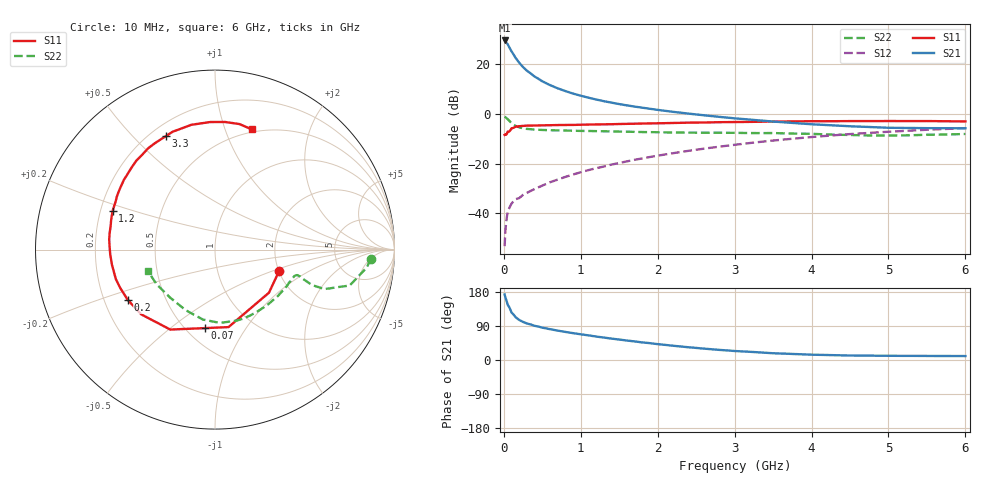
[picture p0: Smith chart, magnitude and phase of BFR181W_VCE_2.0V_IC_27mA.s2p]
! Infineon Technologies  Discrete & RF Semiconductors
! BFR181W
! VCE =  2.0 V,  IC =  27 mA
! Common Emitter S-Parameters:  Jan 2017
# GHz  S  MA  R  50
!  f  S11  S21  S12  S22
! GHz  MAG  ANG  MAG  ANG  MAG  ANG  MAG  ANG
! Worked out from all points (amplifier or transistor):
!   77 points, 10 MHz to 6 GHz, reference 50 ohm
!   highest |S21| = 29.4 dB at 10 MHz (marker M1)
!   |S21| within 3 dB of that: start of sweep to 75.46 MHz
!   unconditionally stable (mu >= 1): start of sweep to 16.77 MHz; 199.4 MHz to end of sweep
!   at 130 MHz: K = 0.74, MSG = 29.3 dB, |S12| = -35.0 dB
!   at 2.2 GHz: K = 1.20, MAG = 5.6 dB, |S12| = -15.8 dB
!   at 6 GHz: K = 1.14, MAG = -2.3 dB, |S12| = -5.8 dB
!   S11 on the Smith chart (normalised r, x): 10 MHz: 2.00, -0.57; 70 MHz: 0.62, -0.67; 200 MHz: 0.30, -0.25; 1.2 GHz: 0.25, +0.17; 3.3 GHz: 0.26, +0.62; 6 GHz: 0.47, +1.24
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0.01  0.3765 -18.8  29.49 173.1  0.0022 79.0  0.8697 -3.3
0.02  0.3848 -38.6  28.62 165.1  0.0045 82.2  0.8518 -6.7
0.05  0.4383 -80.1  24.71 146.0  0.0108 65.1  0.776 -15.0
0.07  0.4407 -97.1  21.65 139.2  0.0127 61.0  0.7235 -16.7
0.1  0.5105 -119.2  17.85 125.1  0.0157 56.7  0.6462 -19.9
0.15  0.5472 -138.8  13.37 113.5  0.0192 52.5  0.5721 -20.0
0.2  0.561 -150.0  10.51 105.7  0.0203 54.2  0.5322 -18.9
0.25  0.5697 -158.0  8.618 100.4  0.0236 55.7  0.5106 -18.2
0.3  0.5763 -163.4  7.279 96.4  0.0258 58.3  0.4956 -17.5
0.4  0.5803 -171.6  5.561 90.2  0.0308 62.7  0.4806 -17.2
0.5  0.5843 -177.3  4.475 85.4  0.0361 66.3  0.472 -17.7
0.7  0.5924 174.4  3.232 77.6  0.0477 71.7  0.4628 -19.5
0.9  0.5957 167.5  2.532 70.9  0.0603 73.9  0.456 -22.7
1.1  0.6053 161.8  2.095 65.0  0.0739 76.0  0.4501 -26.0
1.2  0.6097 159.1  1.927 61.9  0.0806 76.7  0.4472 -27.8
1.6  0.6258 149.2  1.47 51.4  0.1106 77.5  0.4356 -36.2
2.1  0.6465 137.8  1.141 39.8  0.1525 76.3  0.4219 -48.7
3.1  0.6826 117.5  0.785 22.7  0.2479 68.7  0.4111 -75.6
3.3  0.6886 113.6  0.739 20.4  0.2685 66.6  0.4086 -80.8
4.1  0.7072 99.0  0.603 13.6  0.3499 57.4  0.3891 -102.8
5.1  0.7124 84.2  0.52 11.0  0.4428 44.6  0.3663 -136.5
6  0.7008 73.1  0.511 10.4  0.5137 33.3  0.3923 -162.4
